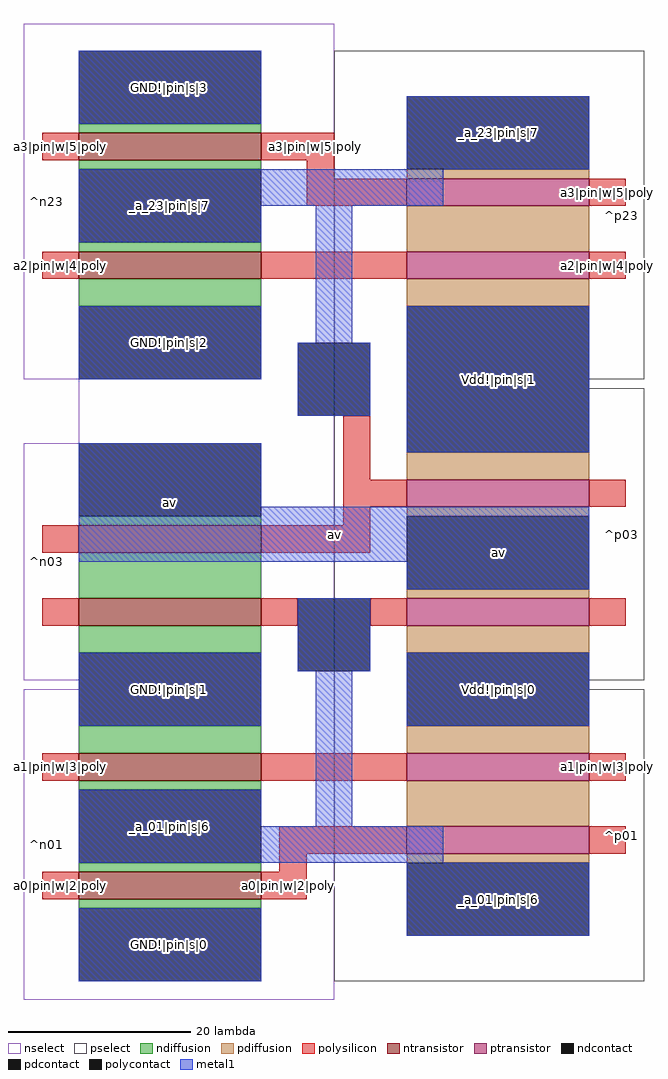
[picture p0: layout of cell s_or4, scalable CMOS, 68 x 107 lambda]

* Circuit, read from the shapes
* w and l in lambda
.subckt s_or4 GND!|pin|s|0 GND!|pin|s|1 GND!|pin|s|2 GND!|pin|s|3 Vdd!|pin|s|0 Vdd!|pin|s|1 _a_01|pin|s|6 _a_23|pin|s|7 a0|pin|w|2|poly a1|pin|w|3|poly a2|pin|w|4|poly a3|pin|w|5|poly av
M1 _a_01|pin|s|6 a0|pin|w|2|poly GND!|pin|s|0 VSUBS nfet w=20 l=3
M2 GND!|pin|s|1 a1|pin|w|3|poly _a_01|pin|s|6 VSUBS nfet w=20 l=3
M3 n1 _a_01|pin|s|6 GND!|pin|s|1 VSUBS nfet w=20 l=3
M4 av _a_23|pin|s|7 n1 VSUBS nfet w=20 l=3
M5 _a_23|pin|s|7 a2|pin|w|4|poly GND!|pin|s|2 VSUBS nfet w=20 l=3
M6 GND!|pin|s|3 a3|pin|w|5|poly _a_23|pin|s|7 VSUBS nfet w=20 l=3
M7 n2 a0|pin|w|2|poly _a_01|pin|s|6 NWELL pfet w=20 l=3
M8 Vdd!|pin|s|0 a1|pin|w|3|poly n2 NWELL pfet w=20 l=3
M9 av _a_01|pin|s|6 Vdd!|pin|s|0 NWELL pfet w=20 l=3
M10 Vdd!|pin|s|1 _a_23|pin|s|7 av NWELL pfet w=20 l=3
M11 n3 a2|pin|w|4|poly Vdd!|pin|s|1 NWELL pfet w=20 l=3
M12 _a_23|pin|s|7 a3|pin|w|5|poly n3 NWELL pfet w=20 l=3
.ends

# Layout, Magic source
magic
tech scmos
<< nselect >>
rect -34 44 0 83
rect -28 37 0 44
rect -34 11 0 37
rect -28 10 0 11
rect -34 -24 0 10
<< pselect >>
rect 0 44 34 80
rect 0 43 28 44
rect 0 11 34 43
rect 0 10 28 11
rect 0 -22 34 10
<< ndiffusion >>
rect -28 71 -8 72
rect -28 67 -8 68
rect -28 58 -8 59
rect -28 52 -8 55
rect -28 28 -8 29
rect -28 20 -8 25
rect -28 14 -8 17
rect -28 3 -8 6
rect -28 -1 -8 0
rect -28 -10 -8 -9
rect -28 -14 -8 -13
<< pdiffusion >>
rect 8 66 28 67
rect 8 58 28 63
rect 8 52 28 55
rect 8 33 28 36
rect 8 29 28 30
rect 8 20 28 21
rect 8 14 28 17
rect 8 3 28 6
rect 8 -5 28 0
rect 8 -9 28 -8
<< ntransistor >>
rect -28 68 -8 71
rect -28 55 -8 58
rect -28 25 -8 28
rect -28 17 -8 20
rect -28 0 -8 3
rect -28 -13 -8 -10
<< ptransistor >>
rect 8 63 28 66
rect 8 55 28 58
rect 8 30 28 33
rect 8 17 28 20
rect 8 0 28 3
rect 8 -8 28 -5
<< polysilicon >>
rect -32 68 -28 71
rect -8 68 0 71
rect -3 66 0 68
rect -3 63 8 66
rect 28 63 32 66
rect -32 55 -28 58
rect -8 55 8 58
rect 28 55 32 58
rect 1 33 4 40
rect 1 30 8 33
rect 28 30 32 33
rect 1 28 4 30
rect -32 25 -28 28
rect -8 25 4 28
rect -32 17 -28 20
rect -8 17 -4 20
rect 4 17 8 20
rect 28 17 32 20
rect -32 0 -28 3
rect -8 0 8 3
rect 28 0 32 3
rect -6 -8 8 -5
rect 28 -8 32 -5
rect -6 -10 -3 -8
rect -32 -13 -28 -10
rect -8 -13 -3 -10
<< ndcontact >>
rect -28 72 -8 80
rect -28 59 -8 67
rect -28 44 -8 52
rect -28 29 -8 37
rect -28 6 -8 14
rect -28 -9 -8 -1
rect -28 -22 -8 -14
<< pdcontact >>
rect 8 67 28 75
rect 8 36 28 52
rect 8 21 28 29
rect 8 6 28 14
rect 8 -17 28 -9
<< polycontact >>
rect -4 40 4 48
rect -4 12 4 20
<< metal1 >>
rect -28 72 -8 80
rect 8 67 28 75
rect -28 63 12 67
rect -28 59 -8 63
rect -28 44 -8 52
rect -2 48 2 63
rect -4 40 4 48
rect -28 30 -8 37
rect 8 36 28 52
rect -28 24 28 30
rect 8 21 28 24
rect -28 6 -8 14
rect -4 12 4 20
rect -28 -5 -8 -1
rect -2 -5 2 12
rect 8 6 28 14
rect -28 -9 12 -5
rect -28 -22 -8 -14
rect 8 -17 28 -9
<< labels >>
rlabel metal1 -28 24 28 30 1 av
rlabel space -35 -24 -28 10 7 ^n01
rlabel space -35 11 -28 37 7 ^n03
rlabel space -35 44 -28 83 7 ^n23
rlabel space 28 -22 35 10 3 ^p01
rlabel space 28 11 35 43 3 ^p03
rlabel space 28 44 35 80 3 ^p23
rlabel polysilicon -32 -13 -28 -10 1 a0|pin|w|2|poly
rlabel polysilicon -7 -13 -3 -10 1 a0|pin|w|2|poly
rlabel polysilicon 28 -8 32 -5 1 a0|pin|w|2|poly
rlabel polysilicon 28 0 32 3 1 a1|pin|w|3|poly
rlabel polysilicon -32 0 -28 3 1 a1|pin|w|3|poly
rlabel polysilicon 28 55 32 58 1 a2|pin|w|4|poly
rlabel polysilicon -32 55 -28 58 1 a2|pin|w|4|poly
rlabel polysilicon -32 68 -28 71 1 a3|pin|w|5|poly
rlabel polysilicon -4 68 0 71 1 a3|pin|w|5|poly
rlabel polysilicon 28 63 32 66 1 a3|pin|w|5|poly
rlabel metal1 -28 -9 -8 -1 1 _a_01|pin|s|6
rlabel metal1 -28 59 -8 67 1 _a_23|pin|s|7
rlabel metal1 8 67 28 75 1 _a_23|pin|s|7
rlabel metal1 8 -17 28 -9 1 _a_01|pin|s|6
rlabel metal1 8 36 28 52 1 Vdd!|pin|s|1
rlabel metal1 8 6 28 14 1 Vdd!|pin|s|0
rlabel metal1 -28 6 -8 14 1 GND!|pin|s|1
rlabel metal1 -28 44 -8 52 1 GND!|pin|s|2
rlabel metal1 -28 72 -8 80 1 GND!|pin|s|3
rlabel metal1 -28 -22 -8 -14 1 GND!|pin|s|0
rlabel metal1 -28 24 -8 37 1 av
rlabel metal1 8 21 28 29 1 av
<< end >>
